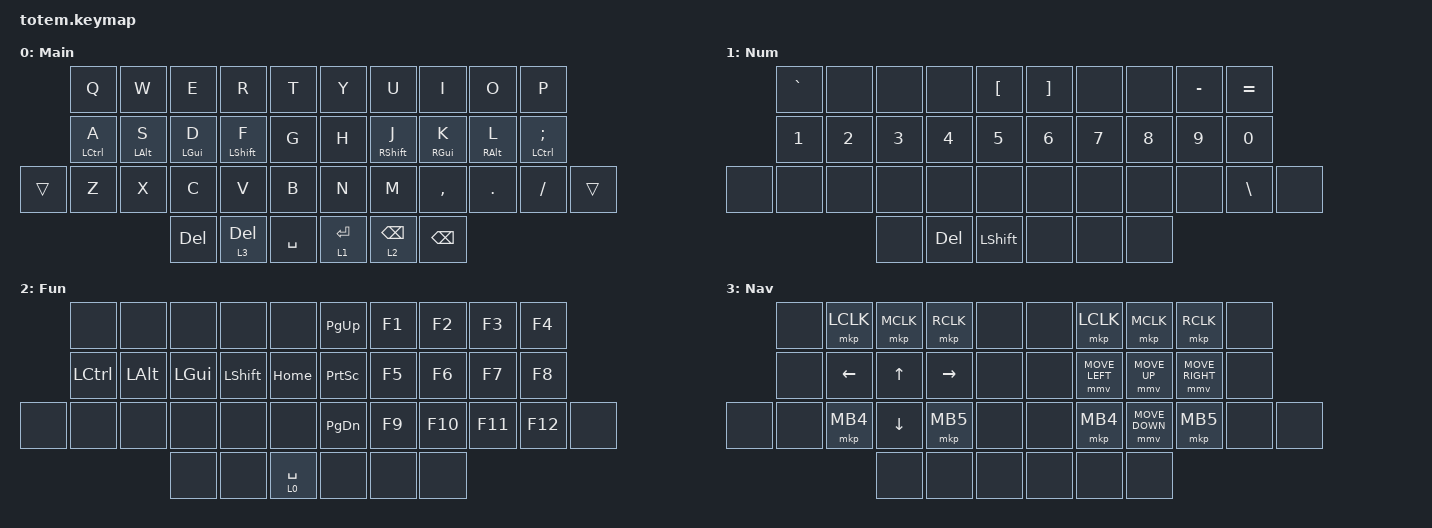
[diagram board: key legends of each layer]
//
//                                                        ▀▀▀▀▀     ▀▀▀▀▀          ▀▀█▀▀
//                                                        ▄▀▀▀▄  ▄  ▄▀▀▀▄  ▄  ▄▀▀▀▄  █  ▄▀▀▀▄
//                                                        █   █  █  █   █  █  █   █  █  █   █
//                                                         ▀▀▀   █   ▀▀▀   █   ▀▀▀   ▀   ▀▀▀
//                                                               █      ▄▄▄█▄▄▄    █   █  
//                                                               ▀      █  █  █     █▄█
//                                                             ▀▀▀▀▀    █  █  █      ▀
//                                                                      ▀  ▀  ▀
//
// ▄▄▄▄▄▄▄▄▄▄▄▄▄▄▄▄▄▄▄▄▄▄▄▄▄▄▄▄▄▄▄▄▄▄▄▄▄▄▄▄▄▄▄▄▄▄▄▄▄▄▄▄▄▄▄▄▄▄▄▄▄▄▄▄▄▄▄▄▄▄▄▄▄▄▄▄▄▄▄▄▄▄▄▄▄▄▄▄▄▄▄▄▄▄▄▄▄▄▄▄▄▄▄▄▄▄▄▄▄▄▄▄▄▄▄▄▄▄▄▄▄▄▄▄▄▄▄▄▄▄▄▄▄▄▄▄▄▄▄▄▄▄▄▄▄▄▄▄▄

#include "keys_nb.h"
#include <behaviors.dtsi>
#include <dt-bindings/zmk/keys.h>
#include <dt-bindings/zmk/pointing.h>

#define Base        0
#define NNav        1
#define Num         2
#define Sym         3
#define Media       4
#define Meta        5
#define Gameing     6

&mt {
    quick-tap-ms = <100>;
    global-quick-tap;
    flavor = "tap-preferred";
    tapping-term-ms = <170>;
};

&lt {
    tapping-term-ms = <240>;
    flavor = "balanced";
    quick-tap-ms = <150>;
};

/ {
    behaviors {
        hm: homerow_mods {
            compatible = "zmk,behavior-hold-tap";
            label = "HOMEROW_MODS";
            #binding-cells = <2>;
            flavor = "tap-preferred";
            tapping-term-ms = <250>;
            quick-tap-ms = <125>;
            global-quick-tap;
            bindings = <&kp>, <&kp>;
        };
    };

    combos {
        compatible = "zmk,combos";

        grave {
            bindings = <&hm ESC GRAVE>;
            key-positions = <0 1>;
        };

        tab {
            bindings = <&kp TAB>;
            key-positions = <10 11>;
        };
    };

    keymap {
        compatible = "zmk,keymap";

        Main {
            bindings = <
        &kp Q        &kp W           &kp E           &kp R             &kp T        &kp Y        &kp U              &kp I            &kp O            &kp P
        &hm LCTRL A  &hm LEFT_ALT S  &hm LEFT_GUI D  &hm LEFT_SHIFT F  &kp G        &kp H        &hm RIGHT_SHIFT J  &hm RIGHT_GUI K  &hm RIGHT_ALT L  &hm LCTRL SEMI
&trans  &kp Z        &kp X           &kp C           &kp V             &kp B        &kp N        &kp M              &kp COMMA        &kp DOT          &kp FSLH        &trans
                                     &kp DELETE      &lt 3 DELETE      &kp SPACE    &lt 1 ENTER  &lt 2 BACKSPACE    &kp BACKSPACE
            >;

            label = "Main";
        };

        Num {
            bindings = <
       &kp GRAVE  &none   &none   &none       &kp LBKT          &kp RBKT  &none   &none   &kp MINUS  &kp EQUAL
       &kp N1     &kp N2  &kp N3  &kp N4      &kp N5            &kp N6    &kp N7  &kp N8  &kp N9     &kp N0
&none  &none      &none   &none   &none       &none             &none     &none   &none   &none      &kp BSLH   &none
                          &none   &kp DELETE  &kp LEFT_SHIFT    &none     &none   &none
            >;

            label = "Num";
        };

        Fun {
            bindings = <
       &none      &none     &none     &none      &none          &kp PG_UP        &kp F1  &kp F2   &kp F3   &kp F4
       &kp LCTRL  &kp LALT  &kp LGUI  &kp LSHFT  &kp HOME       &kp PRINTSCREEN  &kp F5  &kp F6   &kp F7   &kp F8
&none  &none      &none     &none     &none      &none          &kp PAGE_DOWN    &kp F9  &kp F10  &kp F11  &kp F12  &none
                            &none     &none      &lt 0 SPACE    &none            &none   &none
            >;

            label = "Fun";
        };

        Nav {
            bindings = <
       &none  &mkp LCLK  &mkp MCLK  &mkp RCLK  &none    &none  &mkp LCLK       &mkp MCLK       &mkp RCLK        &none
       &none  &kp LEFT   &kp UP     &kp RIGHT  &none    &none  &mmv MOVE_LEFT  &mmv MOVE_UP    &mmv MOVE_RIGHT  &none
&none  &none  &mkp MB4   &kp DOWN   &mkp MB5   &none    &none  &mkp MB4        &mmv MOVE_DOWN  &mkp MB5         &none  &none
                         &none      &none      &none    &none  &none           &none
            >;

            label = "Nav";
        };
    };

    conditional_layers { compatible = "zmk,conditional-layers"; };
};
